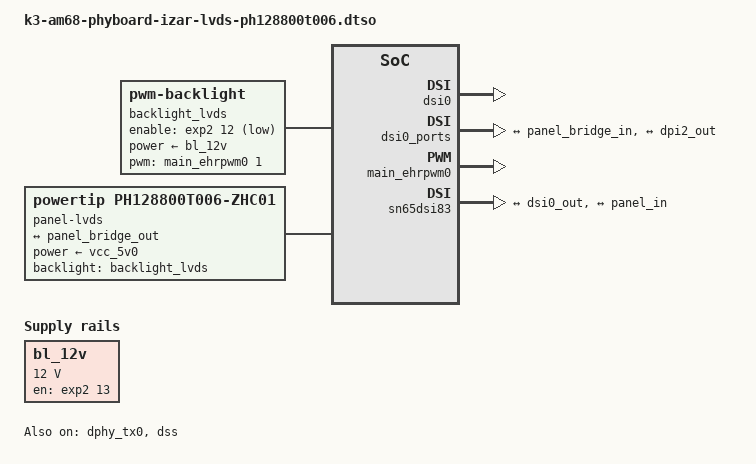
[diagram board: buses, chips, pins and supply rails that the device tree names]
// SPDX-License-Identifier: GPL-2.0-only OR MIT
/*
 * Copyright (C) 2026 PHYTEC Messtechnik GmbH
 * Author: Dominik Haller <d.haller@phytec.de>
 */

/dts-v1/;
/plugin/;

#include <dt-bindings/gpio/gpio.h>
#include <dt-bindings/pwm/pwm.h>
#include "k3-pinctrl.h"

&{/} {
	backlight_lvds: backlight {
		compatible = "pwm-backlight";
		brightness-levels = <0 32 64 96 128 160 192 224 255>;
		default-brightness-level = <6>;
		enable-gpios = <&exp2 12 GPIO_ACTIVE_LOW>;
		pinctrl-names = "default";
		pinctrl-0 = <&backlight_pins_default>;
		power-supply = <&bl_12v>;
		pwms = <&main_ehrpwm0 1 44000 0>;
	};

	bl_12v: regulator-backlight {
		compatible = "regulator-fixed";
		enable-active-high;
		gpio = <&exp2 13 GPIO_ACTIVE_HIGH>;
		regulator-name = "BL_12V";
		regulator-min-microvolt = <12000000>;
		regulator-max-microvolt = <12000000>;
	};

	panel-lvds {
		compatible = "powertip,ph128800t006-zhc01";
		backlight = <&backlight_lvds>;
		power-supply = <&vcc_5v0>;

		port {
			panel_in: endpoint {
				remote-endpoint = <&panel_bridge_out>;
			};
		};
	};
};

&main_pmx0 {
	backlight_pins_default: backlight-default-pins {
		pinctrl-single,pins = <
			J721S2_IOPAD(0x064, PIN_OUTPUT, 9) /* (W28) MCAN0_TX.EHRPWM0_B */
		>;
	};
};

&dphy_tx0 {
	status = "okay";
};

&dss {
	status = "okay";
};

&dss_ports {
	#address-cells = <1>;
	#size-cells = <0>;

	port@2 {
		reg = <2>;
		dpi2_out: endpoint {
			remote-endpoint = <&dsi0_in>;
		};
	};
};

&dsi0 {
	status = "okay";
};

&dsi0_ports {
	#address-cells = <1>;
	#size-cells = <0>;

	port@0 {
		reg = <0>;
		dsi0_out: endpoint {
			remote-endpoint = <&panel_bridge_in>;
		};
	};

	port@1 {
		reg = <1>;
		dsi0_in: endpoint {
			remote-endpoint = <&dpi2_out>;
		};
	};
};

&main_ehrpwm0 {
	status = "okay";
};

&sn65dsi83 {
	status = "okay";

	ports {
		#address-cells = <1>;
		#size-cells = <0>;

		port@0 {
			reg = <0>;
			panel_bridge_in: endpoint {
				remote-endpoint = <&dsi0_out>;
				data-lanes = <1 2 3 4>;
			};
		};

		port@2 {
			reg = <2>;
			panel_bridge_out: endpoint {
				remote-endpoint = <&panel_in>;
			};
		};
	};
};
